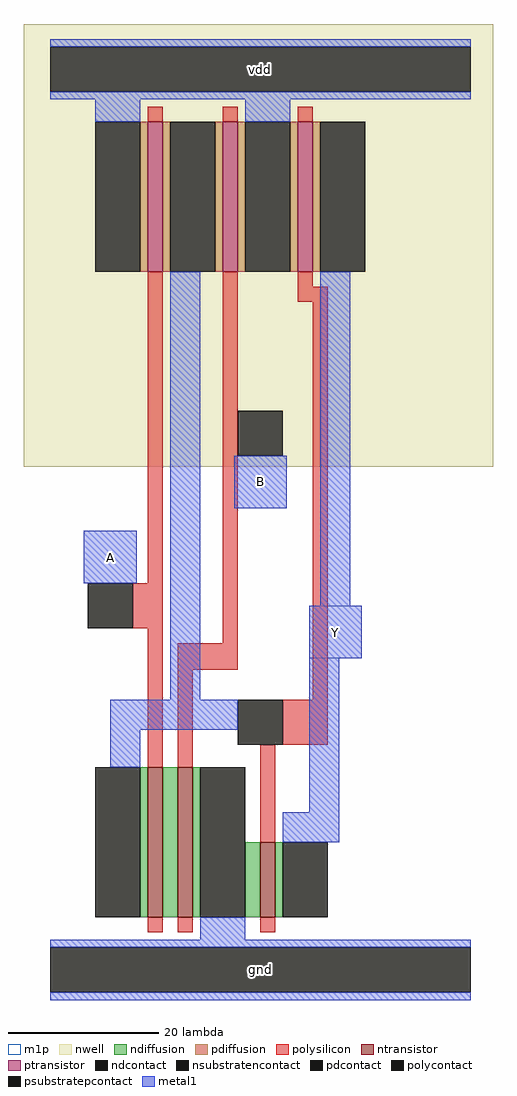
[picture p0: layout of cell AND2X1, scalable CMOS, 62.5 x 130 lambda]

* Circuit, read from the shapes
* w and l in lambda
.subckt AND2X1 A B Y vdd gnd
M1 n1 A n2 gnd nfet w=20 l=2
M2 gnd B n1 gnd nfet w=20 l=2
M3 Y n2 gnd gnd nfet w=10 l=2
M4 n2 A vdd vdd pfet w=20 l=2
M5 vdd B n2 vdd pfet w=20 l=2
M6 Y n2 vdd vdd pfet w=20 l=2
.ends

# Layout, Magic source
magic
tech scmos
magscale 1 2
<< nwell >>
rect -13 134 112 252
<< ntransistor >>
rect 20 14 24 54
rect 28 14 32 54
rect 50 14 54 34
<< ptransistor >>
rect 20 186 24 226
rect 40 186 44 226
rect 60 186 64 226
<< ndiffusion >>
rect 18 14 20 54
rect 24 14 28 54
rect 32 14 34 54
rect 46 14 50 34
rect 54 14 56 34
<< pdiffusion >>
rect 18 186 20 226
rect 24 186 26 226
rect 38 186 40 226
rect 44 186 46 226
rect 58 186 60 226
rect 64 186 66 226
<< ndcontact >>
rect 6 14 18 54
rect 34 14 46 54
rect 56 14 68 34
<< pdcontact >>
rect 6 186 18 226
rect 26 186 38 226
rect 46 186 58 226
rect 66 186 78 226
<< psubstratepcontact >>
rect -6 -6 106 6
<< nsubstratencontact >>
rect -6 234 106 246
<< polysilicon >>
rect 20 226 24 230
rect 40 226 44 230
rect 60 226 64 230
rect 20 103 24 186
rect 16 91 24 103
rect 20 54 24 91
rect 40 87 44 186
rect 60 182 64 186
rect 60 178 68 182
rect 28 80 44 87
rect 28 54 32 80
rect 64 72 68 178
rect 56 60 68 72
rect 50 34 54 60
rect 20 10 24 14
rect 28 10 32 14
rect 50 10 54 14
<< polycontact >>
rect 4 91 16 103
rect 44 137 56 149
rect 44 60 56 72
<< metal1 >>
rect -6 246 106 248
rect -6 232 106 234
rect 6 226 18 232
rect 46 226 58 232
rect 3 103 17 117
rect 26 72 34 186
rect 43 123 57 137
rect 66 97 74 186
rect 63 83 77 97
rect 10 64 44 72
rect 10 54 18 64
rect 63 42 71 83
rect 56 34 71 42
rect 34 8 46 14
rect -6 6 106 8
rect -6 -8 106 -6
<< m1p >>
rect 43 123 57 137
rect 3 103 17 117
rect 63 83 77 97
<< labels >>
rlabel metal1 -6 -8 106 8 0 gnd
port 4 nsew ground bidirectional abutment
rlabel metal1 -6 232 106 248 0 vdd
port 3 nsew power bidirectional abutment
rlabel metal1 43 123 57 137 0 B
port 1 nsew signal input
rlabel metal1 3 103 17 117 0 A
port 0 nsew signal input
rlabel metal1 63 83 77 97 0 Y
port 2 nsew signal output
<< properties >>
string FIXED_BBOX 0 0 100 240
string LEFclass CORE
string LEFsite core
string LEFsymmetry X Y
<< end >>
